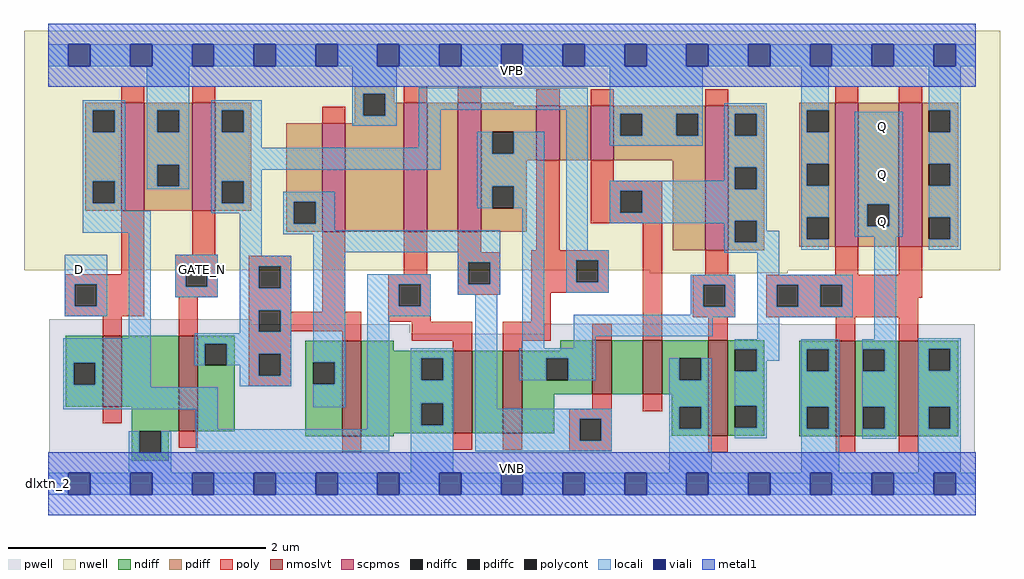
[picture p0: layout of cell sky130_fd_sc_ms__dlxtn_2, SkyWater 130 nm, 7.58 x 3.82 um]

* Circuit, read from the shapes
.subckt sky130_fd_sc_ms__dlxtn_2 D GATE_N VGND VNB VPB VPWR Q
XM1 VGND D n1 VNB sky130_fd_pr__nfet_01v8_lvt w=0.55 l=0.15
XM2 n2 GATE_N VGND VNB sky130_fd_pr__nfet_01v8_lvt w=0.74 l=0.15
XM3 VGND n2 n3 VNB sky130_fd_pr__nfet_01v8_lvt w=0.74 l=0.15
XM4 n4 n1 VGND VNB sky130_fd_pr__nfet_01v8_lvt w=0.64 l=0.15
XM5 n5 n2 n4 VNB sky130_fd_pr__nfet_01v8_lvt w=0.64 l=0.15
XM6 n6 n3 n5 VNB sky130_fd_pr__nfet_01v8_lvt w=0.42 l=0.15
XM7 VGND n7 n6 VNB sky130_fd_pr__nfet_01v8_lvt w=0.42 l=0.15
XM8 n7 n5 VGND VNB sky130_fd_pr__nfet_01v8_lvt w=0.74 l=0.15
XM9 Q n7 VGND VNB sky130_fd_pr__nfet_01v8_lvt w=0.74 l=0.15 m=2
XM10 VPWR D n1 VPB sky130_fd_pr__pfet_01v8 w=0.84 l=0.18
XM11 n2 GATE_N VPWR VPB sky130_fd_pr__pfet_01v8 w=0.84 l=0.18
XM12 VPWR n2 n3 VPB sky130_fd_pr__pfet_01v8 w=0.84 l=0.18
XM13 n8 n1 VPWR VPB sky130_fd_pr__pfet_01v8 w=1 l=0.18
XM14 n5 n3 n8 VPB sky130_fd_pr__pfet_01v8 w=1 l=0.18
XM15 n9 n2 n5 VPB sky130_fd_pr__pfet_01v8 w=0.42 l=0.18
XM16 VPWR n7 n9 VPB sky130_fd_pr__pfet_01v8 w=0.42 l=0.18
XM17 n7 n5 VPWR VPB sky130_fd_pr__pfet_01v8 w=1.12 l=0.18
XM18 Q n7 VPWR VPB sky130_fd_pr__pfet_01v8 w=1.12 l=0.18 m=2
.ends

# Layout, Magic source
magic
tech sky130A
magscale 1 2
<< nwell >>
rect -38 332 1478 704
rect 934 327 1148 332
<< pwell >>
rect 1 248 315 256
rect 769 248 1138 249
rect 1 233 562 248
rect 769 233 1439 248
rect 1 49 1439 233
rect 0 0 1440 49
<< scpmos >>
rect 113 424 149 592
rect 223 424 259 592
rect 425 392 461 560
rect 552 392 588 592
rect 636 392 672 592
rect 758 503 794 587
rect 842 503 878 587
rect 1020 363 1056 587
rect 1222 368 1258 592
rect 1321 368 1357 592
<< nmoslvt >>
rect 84 120 114 230
rect 202 82 232 230
rect 456 74 486 222
rect 628 79 658 207
rect 706 79 736 207
rect 845 139 875 223
rect 923 139 953 223
rect 1025 75 1055 223
rect 1223 74 1253 222
rect 1321 74 1351 222
<< ndiff >>
rect 27 188 84 230
rect 27 154 39 188
rect 73 154 84 188
rect 27 120 84 154
rect 114 120 202 230
rect 129 82 202 120
rect 232 218 289 230
rect 232 184 243 218
rect 277 184 289 218
rect 232 82 289 184
rect 399 189 456 222
rect 399 155 411 189
rect 445 155 456 189
rect 129 48 141 82
rect 175 48 187 82
rect 399 74 456 155
rect 486 207 536 222
rect 795 207 845 223
rect 486 195 628 207
rect 486 161 579 195
rect 613 161 628 195
rect 486 125 628 161
rect 486 91 579 125
rect 613 91 628 125
rect 486 79 628 91
rect 658 79 706 207
rect 736 195 845 207
rect 736 161 773 195
rect 807 161 845 195
rect 736 139 845 161
rect 875 139 923 223
rect 953 195 1025 223
rect 953 161 980 195
rect 1014 161 1025 195
rect 953 139 1025 161
rect 736 79 786 139
rect 968 120 1025 139
rect 486 74 536 79
rect 968 86 980 120
rect 1014 86 1025 120
rect 968 75 1025 86
rect 1055 209 1112 223
rect 1055 175 1066 209
rect 1100 175 1112 209
rect 1055 121 1112 175
rect 1055 87 1066 121
rect 1100 87 1112 121
rect 1055 75 1112 87
rect 1166 209 1223 222
rect 1166 175 1178 209
rect 1212 175 1223 209
rect 1166 120 1223 175
rect 1166 86 1178 120
rect 1212 86 1223 120
rect 1166 74 1223 86
rect 1253 209 1321 222
rect 1253 175 1265 209
rect 1299 175 1321 209
rect 1253 120 1321 175
rect 1253 86 1265 120
rect 1299 86 1321 120
rect 1253 74 1321 86
rect 1351 210 1413 222
rect 1351 176 1367 210
rect 1401 176 1413 210
rect 1351 120 1413 176
rect 1351 86 1367 120
rect 1401 86 1413 120
rect 1351 74 1413 86
rect 129 36 187 48
<< pdiff >>
rect 476 606 537 618
rect 57 580 113 592
rect 57 546 69 580
rect 103 546 113 580
rect 57 470 113 546
rect 57 436 69 470
rect 103 436 113 470
rect 57 424 113 436
rect 149 580 223 592
rect 149 546 169 580
rect 203 546 223 580
rect 149 496 223 546
rect 149 462 169 496
rect 203 462 223 496
rect 149 424 223 462
rect 259 580 315 592
rect 259 546 269 580
rect 303 546 315 580
rect 476 572 489 606
rect 523 592 537 606
rect 523 572 552 592
rect 476 560 552 572
rect 259 470 315 546
rect 259 436 269 470
rect 303 436 315 470
rect 259 424 315 436
rect 369 438 425 560
rect 369 404 381 438
rect 415 404 425 438
rect 369 392 425 404
rect 461 392 552 560
rect 588 392 636 592
rect 672 587 722 592
rect 672 547 758 587
rect 672 513 689 547
rect 723 513 758 547
rect 672 503 758 513
rect 794 503 842 587
rect 878 575 1020 587
rect 878 541 888 575
rect 922 541 975 575
rect 1009 541 1020 575
rect 878 503 1020 541
rect 672 462 743 503
rect 672 428 689 462
rect 723 428 743 462
rect 672 392 743 428
rect 970 363 1020 503
rect 1056 575 1112 587
rect 1056 541 1066 575
rect 1100 541 1112 575
rect 1056 492 1112 541
rect 1056 458 1066 492
rect 1100 458 1112 492
rect 1056 409 1112 458
rect 1056 375 1066 409
rect 1100 375 1112 409
rect 1056 363 1112 375
rect 1166 580 1222 592
rect 1166 546 1178 580
rect 1212 546 1222 580
rect 1166 497 1222 546
rect 1166 463 1178 497
rect 1212 463 1222 497
rect 1166 414 1222 463
rect 1166 380 1178 414
rect 1212 380 1222 414
rect 1166 368 1222 380
rect 1258 434 1321 592
rect 1258 400 1272 434
rect 1306 400 1321 434
rect 1258 368 1321 400
rect 1357 580 1413 592
rect 1357 546 1367 580
rect 1401 546 1413 580
rect 1357 497 1413 546
rect 1357 463 1367 497
rect 1401 463 1413 497
rect 1357 414 1413 463
rect 1357 380 1367 414
rect 1401 380 1413 414
rect 1357 368 1413 380
<< ndiffc >>
rect 39 154 73 188
rect 243 184 277 218
rect 411 155 445 189
rect 141 48 175 82
rect 579 161 613 195
rect 579 91 613 125
rect 773 161 807 195
rect 980 161 1014 195
rect 980 86 1014 120
rect 1066 175 1100 209
rect 1066 87 1100 121
rect 1178 175 1212 209
rect 1178 86 1212 120
rect 1265 175 1299 209
rect 1265 86 1299 120
rect 1367 176 1401 210
rect 1367 86 1401 120
<< pdiffc >>
rect 69 546 103 580
rect 69 436 103 470
rect 169 546 203 580
rect 169 462 203 496
rect 269 546 303 580
rect 489 572 523 606
rect 269 436 303 470
rect 381 404 415 438
rect 689 513 723 547
rect 888 541 922 575
rect 975 541 1009 575
rect 689 428 723 462
rect 1066 541 1100 575
rect 1066 458 1100 492
rect 1066 375 1100 409
rect 1178 546 1212 580
rect 1178 463 1212 497
rect 1178 380 1212 414
rect 1272 400 1306 434
rect 1367 546 1401 580
rect 1367 463 1401 497
rect 1367 380 1401 414
<< poly >>
rect 113 592 149 618
rect 223 592 259 618
rect 425 560 461 586
rect 552 592 588 618
rect 636 592 672 618
rect 113 326 149 424
rect 223 356 259 424
rect 758 587 794 613
rect 842 587 878 613
rect 1020 587 1056 613
rect 1222 592 1258 618
rect 1321 592 1357 618
rect 25 310 149 326
rect 25 276 41 310
rect 75 276 149 310
rect 197 340 263 356
rect 197 306 213 340
rect 247 306 263 340
rect 197 290 263 306
rect 311 338 377 354
rect 311 304 327 338
rect 361 304 377 338
rect 25 260 149 276
rect 84 230 114 260
rect 202 230 232 290
rect 311 270 377 304
rect 311 236 327 270
rect 361 267 377 270
rect 425 267 461 392
rect 552 326 588 392
rect 636 360 672 392
rect 758 363 794 503
rect 842 471 878 503
rect 842 455 953 471
rect 842 421 888 455
rect 922 421 953 455
rect 842 405 953 421
rect 636 344 702 360
rect 528 310 594 326
rect 528 276 544 310
rect 578 276 594 310
rect 636 310 652 344
rect 686 310 702 344
rect 636 294 702 310
rect 750 347 870 363
rect 750 313 820 347
rect 854 313 870 347
rect 750 297 870 313
rect 361 237 486 267
rect 528 252 594 276
rect 750 252 780 297
rect 361 236 377 237
rect 84 94 114 120
rect 311 202 377 236
rect 456 222 486 237
rect 564 222 658 252
rect 311 168 327 202
rect 361 168 377 202
rect 311 152 377 168
rect 202 56 232 82
rect 628 207 658 222
rect 706 222 780 252
rect 845 223 875 249
rect 923 223 953 405
rect 1020 325 1056 363
rect 1222 325 1258 368
rect 1321 325 1357 368
rect 1001 309 1067 325
rect 1001 275 1017 309
rect 1051 275 1067 309
rect 1001 259 1067 275
rect 1115 309 1357 325
rect 1115 275 1131 309
rect 1165 275 1199 309
rect 1233 289 1357 309
rect 1233 275 1351 289
rect 1115 259 1351 275
rect 1025 223 1055 259
rect 706 207 736 222
rect 845 117 875 139
rect 809 101 875 117
rect 923 113 953 139
rect 456 48 486 74
rect 628 53 658 79
rect 706 53 736 79
rect 809 67 825 101
rect 859 67 875 101
rect 1223 222 1253 259
rect 1321 222 1351 259
rect 809 51 875 67
rect 1025 49 1055 75
rect 1223 48 1253 74
rect 1321 48 1351 74
<< polycont >>
rect 41 276 75 310
rect 213 306 247 340
rect 327 304 361 338
rect 327 236 361 270
rect 888 421 922 455
rect 544 276 578 310
rect 652 310 686 344
rect 820 313 854 347
rect 327 168 361 202
rect 1017 275 1051 309
rect 1131 275 1165 309
rect 1199 275 1233 309
rect 825 67 859 101
<< locali >>
rect 0 649 31 683
rect 65 649 127 683
rect 161 649 223 683
rect 257 649 319 683
rect 353 649 415 683
rect 449 649 511 683
rect 545 649 607 683
rect 641 649 703 683
rect 737 649 799 683
rect 833 649 895 683
rect 929 649 991 683
rect 1025 649 1087 683
rect 1121 649 1183 683
rect 1217 649 1279 683
rect 1313 649 1375 683
rect 1409 649 1440 683
rect 53 580 119 596
rect 53 546 69 580
rect 103 546 119 580
rect 53 470 119 546
rect 53 436 69 470
rect 103 436 119 470
rect 153 580 219 649
rect 472 606 541 649
rect 153 546 169 580
rect 203 546 219 580
rect 153 496 219 546
rect 153 462 169 496
rect 203 462 219 496
rect 153 458 219 462
rect 253 580 331 596
rect 253 546 269 580
rect 303 546 331 580
rect 472 572 489 606
rect 523 572 541 606
rect 472 556 541 572
rect 575 581 838 615
rect 253 522 331 546
rect 575 522 609 581
rect 253 488 609 522
rect 666 513 689 547
rect 723 513 770 547
rect 253 470 331 488
rect 53 424 119 436
rect 253 436 269 470
rect 303 436 331 470
rect 666 462 770 513
rect 53 390 159 424
rect 253 420 331 436
rect 25 310 91 356
rect 25 276 41 310
rect 75 276 91 310
rect 25 260 91 276
rect 125 226 159 390
rect 197 340 263 356
rect 197 306 213 340
rect 247 306 263 340
rect 197 290 263 306
rect 297 354 331 420
rect 365 438 445 454
rect 365 404 381 438
rect 415 404 445 438
rect 666 428 689 462
rect 723 428 770 462
rect 365 394 445 404
rect 365 388 702 394
rect 411 360 702 388
rect 297 338 377 354
rect 297 304 327 338
rect 361 304 377 338
rect 297 270 377 304
rect 297 236 327 270
rect 361 236 377 270
rect 297 234 377 236
rect 23 188 159 226
rect 23 154 39 188
rect 73 154 159 188
rect 227 218 377 234
rect 227 184 243 218
rect 277 202 377 218
rect 277 184 327 202
rect 23 150 159 154
rect 297 168 327 184
rect 361 168 377 202
rect 297 152 377 168
rect 411 189 461 360
rect 636 344 702 360
rect 445 155 461 189
rect 23 116 263 150
rect 411 119 461 155
rect 495 310 594 326
rect 495 276 544 310
rect 578 276 594 310
rect 636 310 652 344
rect 686 310 702 344
rect 636 294 702 310
rect 495 260 594 276
rect 229 85 263 116
rect 495 85 529 260
rect 125 48 141 82
rect 175 48 191 82
rect 229 51 529 85
rect 563 195 629 211
rect 563 161 579 195
rect 613 161 629 195
rect 563 125 629 161
rect 563 91 579 125
rect 613 91 629 125
rect 125 17 191 48
rect 563 17 629 91
rect 663 117 697 294
rect 736 211 770 428
rect 804 363 838 581
rect 872 575 1016 649
rect 872 541 888 575
rect 922 541 975 575
rect 1009 541 1016 575
rect 872 525 1016 541
rect 1050 575 1116 591
rect 1050 541 1066 575
rect 1100 541 1116 575
rect 1050 492 1116 541
rect 1050 471 1066 492
rect 872 458 1066 471
rect 1100 458 1116 492
rect 872 455 1116 458
rect 872 421 888 455
rect 922 421 1116 455
rect 872 409 1116 421
rect 872 405 1066 409
rect 1050 375 1066 405
rect 1100 393 1116 409
rect 1169 580 1212 649
rect 1169 546 1178 580
rect 1367 580 1417 649
rect 1169 497 1212 546
rect 1169 463 1178 497
rect 1169 414 1212 463
rect 1100 375 1135 393
rect 804 347 870 363
rect 1050 359 1135 375
rect 1169 380 1178 414
rect 1252 434 1327 578
rect 1252 400 1272 434
rect 1306 400 1327 434
rect 1252 384 1327 400
rect 1401 546 1417 580
rect 1367 497 1417 546
rect 1401 463 1417 497
rect 1367 414 1417 463
rect 1169 364 1212 380
rect 804 313 820 347
rect 854 313 870 347
rect 1101 325 1135 359
rect 804 297 870 313
rect 998 309 1067 325
rect 998 275 1017 309
rect 1051 275 1067 309
rect 998 263 1067 275
rect 816 259 1067 263
rect 1101 309 1249 325
rect 1101 275 1131 309
rect 1165 275 1199 309
rect 1233 275 1249 309
rect 1101 259 1249 275
rect 816 229 1032 259
rect 816 211 850 229
rect 1101 225 1135 259
rect 1283 225 1317 384
rect 1401 380 1417 414
rect 1367 364 1417 380
rect 731 195 850 211
rect 1066 209 1135 225
rect 731 161 773 195
rect 807 161 850 195
rect 964 161 980 195
rect 1014 161 1030 195
rect 964 120 1030 161
rect 663 101 875 117
rect 663 67 825 101
rect 859 67 875 101
rect 663 51 875 67
rect 964 86 980 120
rect 1014 86 1030 120
rect 964 17 1030 86
rect 1100 191 1135 209
rect 1169 209 1228 225
rect 1100 175 1116 191
rect 1066 121 1116 175
rect 1100 87 1116 121
rect 1066 71 1116 87
rect 1169 175 1178 209
rect 1212 175 1228 209
rect 1169 120 1228 175
rect 1169 86 1178 120
rect 1212 86 1228 120
rect 1169 17 1228 86
rect 1264 209 1317 225
rect 1264 175 1265 209
rect 1299 175 1317 209
rect 1264 120 1317 175
rect 1264 86 1265 120
rect 1299 86 1317 120
rect 1264 70 1317 86
rect 1351 210 1417 226
rect 1351 176 1367 210
rect 1401 176 1417 210
rect 1351 120 1417 176
rect 1351 86 1367 120
rect 1401 86 1417 120
rect 1351 17 1417 86
rect 0 -17 31 17
rect 65 -17 127 17
rect 161 -17 223 17
rect 257 -17 319 17
rect 353 -17 415 17
rect 449 -17 511 17
rect 545 -17 607 17
rect 641 -17 703 17
rect 737 -17 799 17
rect 833 -17 895 17
rect 929 -17 991 17
rect 1025 -17 1087 17
rect 1121 -17 1183 17
rect 1217 -17 1279 17
rect 1313 -17 1375 17
rect 1409 -17 1440 17
<< viali >>
rect 31 649 65 683
rect 127 649 161 683
rect 223 649 257 683
rect 319 649 353 683
rect 415 649 449 683
rect 511 649 545 683
rect 607 649 641 683
rect 703 649 737 683
rect 799 649 833 683
rect 895 649 929 683
rect 991 649 1025 683
rect 1087 649 1121 683
rect 1183 649 1217 683
rect 1279 649 1313 683
rect 1375 649 1409 683
rect 31 -17 65 17
rect 127 -17 161 17
rect 223 -17 257 17
rect 319 -17 353 17
rect 415 -17 449 17
rect 511 -17 545 17
rect 607 -17 641 17
rect 703 -17 737 17
rect 799 -17 833 17
rect 895 -17 929 17
rect 991 -17 1025 17
rect 1087 -17 1121 17
rect 1183 -17 1217 17
rect 1279 -17 1313 17
rect 1375 -17 1409 17
<< metal1 >>
rect 0 683 1440 715
rect 0 649 31 683
rect 65 649 127 683
rect 161 649 223 683
rect 257 649 319 683
rect 353 649 415 683
rect 449 649 511 683
rect 545 649 607 683
rect 641 649 703 683
rect 737 649 799 683
rect 833 649 895 683
rect 929 649 991 683
rect 1025 649 1087 683
rect 1121 649 1183 683
rect 1217 649 1279 683
rect 1313 649 1375 683
rect 1409 649 1440 683
rect 0 617 1440 649
rect 0 17 1440 49
rect 0 -17 31 17
rect 65 -17 127 17
rect 161 -17 223 17
rect 257 -17 319 17
rect 353 -17 415 17
rect 449 -17 511 17
rect 545 -17 607 17
rect 641 -17 703 17
rect 737 -17 799 17
rect 833 -17 895 17
rect 929 -17 991 17
rect 1025 -17 1087 17
rect 1121 -17 1183 17
rect 1217 -17 1279 17
rect 1313 -17 1375 17
rect 1409 -17 1440 17
rect 0 -49 1440 -17
<< labels >>
flabel pwell s 0 0 1440 49 0 FreeSans 200 0 0 0 VNB
port 4 nsew ground bidirectional
flabel nwell s 0 617 1440 666 0 FreeSans 200 0 0 0 VPB
port 5 nsew power bidirectional
rlabel comment s 0 0 0 0 4 dlxtn_2
flabel metal1 s 0 617 1440 666 0 FreeSans 340 0 0 0 VPWR
port 6 nsew power bidirectional
flabel metal1 s 0 0 1440 49 0 FreeSans 340 0 0 0 VGND
port 3 nsew ground bidirectional
flabel locali s 31 316 65 350 0 FreeSans 340 0 0 0 D
port 1 nsew signal input
flabel locali s 223 316 257 350 0 FreeSans 340 0 0 0 GATE_N
port 2 nsew clock input
flabel locali s 1279 390 1313 424 0 FreeSans 340 0 0 0 Q
port 7 nsew signal output
flabel locali s 1279 464 1313 498 0 FreeSans 340 0 0 0 Q
port 7 nsew signal output
flabel locali s 1279 538 1313 572 0 FreeSans 340 0 0 0 Q
port 7 nsew signal output
<< properties >>
string LEFsite unit
string LEFclass CORE
string FIXED_BBOX 0 0 1440 666
string GDS_FILE $PDKPATH/libs.ref/sky130_fd_sc_ms/gds/sky130_fd_sc_ms.gds
string LEFsymmetry X Y
string GDS_END 642750
string GDS_START 631766
<< end >>
